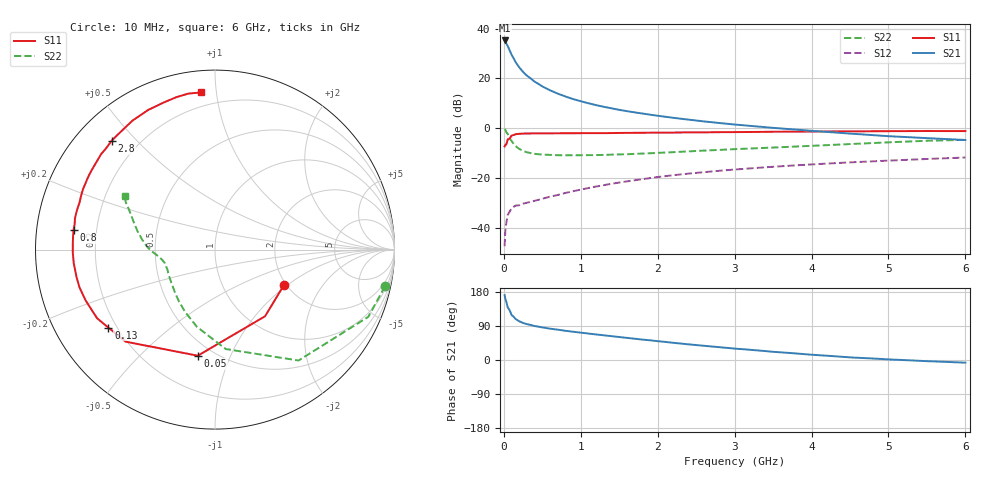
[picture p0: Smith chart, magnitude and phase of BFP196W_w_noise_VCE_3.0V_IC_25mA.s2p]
! Infineon Technologies  Discrete & RF Semiconductors
! BFP196W
! VCE =  3.0 V,  IC =  25 mA
! Common Emitter S-Parameters:  Jan 2017
# GHz  S  MA  R  50
!  f  S11  S21  S12  S22
! GHz  MAG  ANG  MAG  ANG  MAG  ANG  MAG  ANG
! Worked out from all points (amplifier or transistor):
!   77 points, 10 MHz to 6 GHz, reference 50 ohm
!   highest |S21| = 35.3 dB at 10 MHz (marker M1)
!   |S21| within 3 dB of that: start of sweep to 61.83 MHz
!   unconditionally stable (mu >= 1): 871.9 MHz to 3.278 GHz
!   at 130 MHz: K = 0.29, MSG = 29.7 dB, |S12| = -31.5 dB
!   at 2.2 GHz: K = 1.05, MAG = 10.1 dB, |S12| = -18.9 dB
!   at 6 GHz: K = 0.93, MSG = 3.5 dB, |S12| = -11.7 dB
!   lowest NFmin = 1.07 dB at 450 MHz
!   S11 on the Smith chart (normalised r, x): 10 MHz: 1.95, -0.94; 50 MHz: 0.41, -0.76; 130 MHz: 0.17, -0.32; 800 MHz: 0.11, +0.07; 2.8 GHz: 0.11, +0.43; 6 GHz: 0.12, +0.91
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0.01  0.4321 -27.1  58 171.1  0.0043 80.2  0.9691 -12.2
0.02  0.4644 -53.1  55.59 161.2  0.0091 75.0  0.9324 -23.7
0.05  0.5989 -99.2  44.97 139.1  0.0181 54.8  0.7736 -53.0
0.1  0.7151 -134.2  30.03 118.8  0.0246 40.7  0.5574 -83.8
0.13  0.7357 -143.8  24.92 113.5  0.0266 38.4  0.4814 -94.3
0.15  0.7603 -149.8  21.68 108.6  0.028 37.1  0.4422 -103.1
0.2  0.7744 -158.5  16.72 102.2  0.0285 34.6  0.3854 -115.6
0.25  0.7839 -164.4  13.56 97.7  0.0307 35.8  0.3507 -125.0
0.3  0.7864 -168.7  11.39 94.7  0.032 36.4  0.3297 -132.0
0.4  0.7907 -174.6  8.641 89.6  0.035 40.0  0.3073 -141.8
0.5  0.7925 -178.8  6.932 86.0  0.0385 42.7  0.2971 -148.2
0.6  0.7928 177.8  5.797 82.7  0.0424 46.2  0.2924 -152.8
0.7  0.7941 174.9  4.967 80.1  0.0458 48.5  0.2883 -156.1
0.8  0.7957 172.2  4.354 77.1  0.0503 50.7  0.2872 -158.6
1.1  0.7997 165.2  3.183 69.8  0.0632 54.1  0.2891 -163.7
1.5  0.8062 157.0  2.348 60.7  0.0814 55.4  0.2987 -168.7
2.1  0.8186 145.5  1.704 47.7  0.1096 53.8  0.326 -174.6
2.8  0.8363 133.5  1.277 33.8  0.1403 49.6  0.3682 179.1
3.1  0.8405 128.8  1.154 28.6  0.1525 47.4  0.3869 176.0
4.1  0.8627 114.3  0.868 12.6  0.1919 40.0  0.4518 165.3
5.1  0.8767 103.4  0.682 0.7  0.2278 32.4  0.5302 154.9
6  0.8788 95.0  0.582 -7.0  0.2593 25.6  0.5863 149.2
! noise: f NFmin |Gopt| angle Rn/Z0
0.45  1.07  0.43  175  0.05
0.9  1.24  0.51  -179  0.06
1.9  2.11  0.68  -152  0.12
2.4  2.53  0.74  -146  0.21
